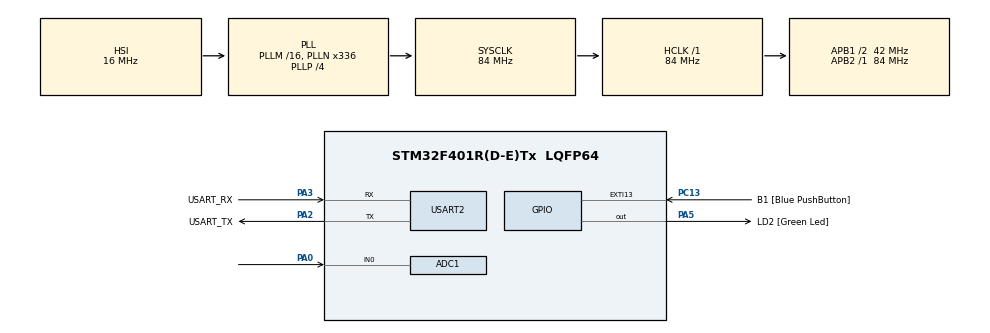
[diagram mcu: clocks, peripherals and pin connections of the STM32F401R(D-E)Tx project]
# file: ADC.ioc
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ADC1.Channel-1\#ChannelRegularConversion=ADC_CHANNEL_0
ADC1.ExternalTrigConv=ADC_EXTERNALTRIGCONV_T2_TRGO
ADC1.NbrOfConversionFlag=1
ADC1.Rank-1\#ChannelRegularConversion=1
ADC1.SamplingTime-1\#ChannelRegularConversion=ADC_SAMPLETIME_480CYCLES
ADC1.master=1
Mcu.Family=STM32F4
Mcu.Name=STM32F401R(D-E)Tx
Mcu.Package=LQFP64
NVIC.ADC_IRQn=true\:0\:0\:false\:false\:true\:true\:true\:true
NVIC.PriorityGroup=NVIC_PRIORITYGROUP_4
NVIC.TIM2_IRQn=true\:0\:0\:false\:false\:true\:true\:true\:true
PA0-WKUP.Signal=ADCx_IN0
PA13.GPIO_Label=TMS
PA13.Mode=Trace_Asynchronous_SW
PA13.Signal=SYS_JTMS-SWDIO
PA14.GPIO_Label=TCK
PA14.Mode=Trace_Asynchronous_SW
PA14.Signal=SYS_JTCK-SWCLK
PA2.GPIO_Label=USART_TX
PA2.GPIO_Mode=GPIO_MODE_AF_PP
PA2.GPIO_PuPd=GPIO_NOPULL
PA2.GPIO_Speed=GPIO_SPEED_FREQ_LOW
PA2.Mode=Asynchronous
PA2.Signal=USART2_TX
PA3.GPIO_Label=USART_RX
PA3.GPIO_Mode=GPIO_MODE_AF_PP
PA3.GPIO_PuPd=GPIO_NOPULL
PA3.GPIO_Speed=GPIO_SPEED_FREQ_LOW
PA3.Mode=Asynchronous
PA3.Signal=USART2_RX
PA5.GPIO_Label=LD2 [Green Led]
PA5.GPIO_Mode=GPIO_MODE_OUTPUT_PP
PA5.GPIO_PuPd=GPIO_NOPULL
PA5.GPIO_Speed=GPIO_SPEED_FREQ_LOW
PA5.Signal=GPIO_Output
PB3.GPIO_Label=SWO
PB3.Mode=Trace_Asynchronous_SW
PB3.Signal=SYS_JTDO-SWO
PC13-ANTI_TAMP.GPIO_Label=B1 [Blue PushButton]
PC13-ANTI_TAMP.GPIO_ModeDefaultEXTI=GPIO_MODE_IT_FALLING
PC13-ANTI_TAMP.GPIO_PuPd=GPIO_NOPULL
PC13-ANTI_TAMP.Signal=GPXTI13
PC14-OSC32_IN.Mode=LSE-External-Oscillator
PC14-OSC32_IN.Signal=RCC_OSC32_IN
PC15-OSC32_OUT.Mode=LSE-External-Oscillator
PC15-OSC32_OUT.Signal=RCC_OSC32_OUT
PH0\ -\ OSC_IN.Mode=HSE-External-Clock-Source
PH0\ -\ OSC_IN.Signal=RCC_OSC_IN
PH1\ -\ OSC_OUT.Mode=HSE-External-Clock-Source
PH1\ -\ OSC_OUT.Signal=RCC_OSC_OUT
ProjectManager.HeapSize=0x200
ProjectManager.StackSize=0x400
ProjectManager.TargetToolchain=MDK-ARM V5.32
RCC.48MHZClocksFreq_Value=48000000
RCC.AHBFreq_Value=84000000
RCC.APB1CLKDivider=RCC_HCLK_DIV2
RCC.APB1Freq_Value=42000000
RCC.APB1TimFreq_Value=84000000
RCC.APB2Freq_Value=84000000
RCC.APB2TimFreq_Value=84000000
RCC.CortexFreq_Value=84000000
RCC.HCLKFreq_Value=84000000
RCC.HSE_VALUE=8000000
RCC.HSI_VALUE=16000000
RCC.PLLN=336
RCC.PLLP=RCC_PLLP_DIV4
RCC.PLLQ=7
RCC.SYSCLKFreq_VALUE=84000000
RCC.SYSCLKSource=RCC_SYSCLKSOURCE_PLLCLK
RCC.VCOOutputFreq_Value=336000000
SH.ADCx_IN0.0=ADC1_IN0,IN0
TIM2.AutoReloadPreload=TIM_AUTORELOAD_PRELOAD_ENABLE
TIM2.Period=\ 50-1
TIM2.Prescaler=42000-1
TIM2.TIM_MasterOutputTrigger=TIM_TRGO_UPDATE
TIM2.TIM_MasterSlaveMode=TIM_MASTERSLAVEMODE_ENABLE
USART2.VirtualMode=VM_ASYNC
VP_TIM2_VS_ClockSourceINT.Mode=Internal
board=NUCLEO-F401RE

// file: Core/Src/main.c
/* USER CODE BEGIN Header */
/**
  ******************************************************************************
  * @file           : main.c
  * @brief          : Main program body
  ******************************************************************************
  * @attention
  *
  * Copyright (c) 2025 STMicroelectronics.
  * All rights reserved.
  *
  * This software is licensed under terms that can be found in the LICENSE file
  * in the root directory of this software component.
  * If no LICENSE file comes with this software, it is provided AS-IS.
  *
  ******************************************************************************
  */
/* USER CODE END Header */
#include "main.h"

/* USER CODE BEGIN Includes */
#include <stdio.h>
#include "stm32f4xx_hal_adc_ex.h"
/* USER CODE END Includes */

ADC_HandleTypeDef hadc1;

TIM_HandleTypeDef htim2;

UART_HandleTypeDef huart2;

/* USER CODE BEGIN PV */
uint16_t adc_value = 0;
char tx_buffer[32];
/* USER CODE END PV */

void SystemClock_Config(void);
static void MX_GPIO_Init(void);
static void MX_ADC1_Init(void);
static void MX_USART2_UART_Init(void);
static void MX_TIM2_Init(void);
/* USER CODE BEGIN PFP */
void HAL_TIM_PeriodElapsedCallback(TIM_HandleTypeDef *htim);
/* USER CODE END PFP */

int main(void)
{

  /* MCU Configuration--------------------------------------------------------*/

  /* Reset of all peripherals, Initializes the Flash interface and the Systick. */
  HAL_Init();

  /* Configure the system clock */
  SystemClock_Config();

  /* Initialize all configured peripherals */
  MX_GPIO_Init();
  MX_ADC1_Init();
  MX_USART2_UART_Init();
  MX_TIM2_Init();
	/* USER CODE BEGIN 2 */
	// ?????????????? ?????????? ADC
	HAL_ADC_Start(&hadc1);
	HAL_Delay(10);  // ???????? ????????
	HAL_ADC_Stop(&hadc1);

	// ??? ?????? ?????????? ?????????? ??? ?????
	// ?????????? ?? ??????????? ??? ??????, ?? ???????? ????????

	// ?????? ??????? ? ???????????
	HAL_TIM_Base_Start_IT(&htim2);

	// ?????? ??????????? ??? ?????????
	HAL_GPIO_TogglePin(LD2_GPIO_Port, LD2_Pin);

	// ?????????? ????????? ?????????
	HAL_UART_Transmit(&huart2, (uint8_t*)"ADC 40Hz started\r\n", 18, 100);
	/* USER CODE END 2 */

  /* Infinite loop */
  while (1)
  {

  }
}

void SystemClock_Config(void)
{
  RCC_OscInitTypeDef RCC_OscInitStruct = {0};
  RCC_ClkInitTypeDef RCC_ClkInitStruct = {0};

  /** Configure the main internal regulator output voltage
  */
  __HAL_RCC_PWR_CLK_ENABLE();
  __HAL_PWR_VOLTAGESCALING_CONFIG(PWR_REGULATOR_VOLTAGE_SCALE2);

  /** Initializes the RCC Oscillators according to the specified parameters
  * in the RCC_OscInitTypeDef structure.
  */
  RCC_OscInitStruct.OscillatorType = RCC_OSCILLATORTYPE_HSI;
  RCC_OscInitStruct.HSIState = RCC_HSI_ON;
  RCC_OscInitStruct.HSICalibrationValue = RCC_HSICALIBRATION_DEFAULT;
  RCC_OscInitStruct.PLL.PLLState = RCC_PLL_ON;
  RCC_OscInitStruct.PLL.PLLSource = RCC_PLLSOURCE_HSI;
  RCC_OscInitStruct.PLL.PLLM = 16;
  RCC_OscInitStruct.PLL.PLLN = 336;
  RCC_OscInitStruct.PLL.PLLP = RCC_PLLP_DIV4;
  RCC_OscInitStruct.PLL.PLLQ = 7;
  if (HAL_RCC_OscConfig(&RCC_OscInitStruct) != HAL_OK)
  {
    Error_Handler();
  }

  /** Initializes the CPU, AHB and APB buses clocks
  */
  RCC_ClkInitStruct.ClockType = RCC_CLOCKTYPE_HCLK|RCC_CLOCKTYPE_SYSCLK
                              |RCC_CLOCKTYPE_PCLK1|RCC_CLOCKTYPE_PCLK2;
  RCC_ClkInitStruct.SYSCLKSource = RCC_SYSCLKSOURCE_PLLCLK;
  RCC_ClkInitStruct.AHBCLKDivider = RCC_SYSCLK_DIV1;
  RCC_ClkInitStruct.APB1CLKDivider = RCC_HCLK_DIV2;
  RCC_ClkInitStruct.APB2CLKDivider = RCC_HCLK_DIV1;

  if (HAL_RCC_ClockConfig(&RCC_ClkInitStruct, FLASH_LATENCY_2) != HAL_OK)
  {
    Error_Handler();
  }
}

static void MX_ADC1_Init(void)
{

  ADC_ChannelConfTypeDef sConfig = {0};

  /** Configure the global features of the ADC (Clock, Resolution, Data Alignment and number of conversion)
  */
  hadc1.Instance = ADC1;
  hadc1.Init.ClockPrescaler = ADC_CLOCK_SYNC_PCLK_DIV4;
  hadc1.Init.Resolution = ADC_RESOLUTION_12B;
  hadc1.Init.ScanConvMode = DISABLE;
  hadc1.Init.ContinuousConvMode = DISABLE;
  hadc1.Init.DiscontinuousConvMode = DISABLE;
  hadc1.Init.ExternalTrigConvEdge = ADC_EXTERNALTRIGCONVEDGE_RISING;
  hadc1.Init.ExternalTrigConv = ADC_EXTERNALTRIGCONV_T2_TRGO;
  hadc1.Init.DataAlign = ADC_DATAALIGN_RIGHT;
  hadc1.Init.NbrOfConversion = 1;
  hadc1.Init.DMAContinuousRequests = DISABLE;
  hadc1.Init.EOCSelection = ADC_EOC_SINGLE_CONV;
  if (HAL_ADC_Init(&hadc1) != HAL_OK)
  {
    Error_Handler();
  }

  /** Configure for the selected ADC regular channel its corresponding rank in the sequencer and its sample time.
  */
  sConfig.Channel = ADC_CHANNEL_0;
  sConfig.Rank = 1;
  sConfig.SamplingTime = ADC_SAMPLETIME_480CYCLES;
  if (HAL_ADC_ConfigChannel(&hadc1, &sConfig) != HAL_OK)
  {
    Error_Handler();
  }

}

static void MX_TIM2_Init(void)
{

  TIM_ClockConfigTypeDef sClockSourceConfig = {0};
  TIM_MasterConfigTypeDef sMasterConfig = {0};

  htim2.Instance = TIM2;
  htim2.Init.Prescaler = 42000-1;
  htim2.Init.CounterMode = TIM_COUNTERMODE_UP;
  htim2.Init.Period = 50-1;
  htim2.Init.ClockDivision = TIM_CLOCKDIVISION_DIV1;
  htim2.Init.AutoReloadPreload = TIM_AUTORELOAD_PRELOAD_ENABLE;
  if (HAL_TIM_Base_Init(&htim2) != HAL_OK)
  {
    Error_Handler();
  }
  sClockSourceConfig.ClockSource = TIM_CLOCKSOURCE_INTERNAL;
  if (HAL_TIM_ConfigClockSource(&htim2, &sClockSourceConfig) != HAL_OK)
  {
    Error_Handler();
  }
  sMasterConfig.MasterOutputTrigger = TIM_TRGO_UPDATE;
  sMasterConfig.MasterSlaveMode = TIM_MASTERSLAVEMODE_ENABLE;
  if (HAL_TIMEx_MasterConfigSynchronization(&htim2, &sMasterConfig) != HAL_OK)
  {
    Error_Handler();
  }

}

static void MX_USART2_UART_Init(void)
{

  huart2.Instance = USART2;
  huart2.Init.BaudRate = 115200;
  huart2.Init.WordLength = UART_WORDLENGTH_8B;
  huart2.Init.StopBits = UART_STOPBITS_1;
  huart2.Init.Parity = UART_PARITY_NONE;
  huart2.Init.Mode = UART_MODE_TX_RX;
  huart2.Init.HwFlowCtl = UART_HWCONTROL_NONE;
  huart2.Init.OverSampling = UART_OVERSAMPLING_16;
  if (HAL_UART_Init(&huart2) != HAL_OK)
  {
    Error_Handler();
  }

}

static void MX_GPIO_Init(void)
{
  GPIO_InitTypeDef GPIO_InitStruct = {0};

  /* GPIO Ports Clock Enable */
  __HAL_RCC_GPIOC_CLK_ENABLE();
  __HAL_RCC_GPIOH_CLK_ENABLE();
  __HAL_RCC_GPIOA_CLK_ENABLE();
  __HAL_RCC_GPIOB_CLK_ENABLE();

  /*Configure GPIO pin Output Level */
  HAL_GPIO_WritePin(LD2_GPIO_Port, LD2_Pin, GPIO_PIN_RESET);

  /*Configure GPIO pin : B1_Pin */
  GPIO_InitStruct.Pin = B1_Pin;
  GPIO_InitStruct.Mode = GPIO_MODE_IT_FALLING;
  GPIO_InitStruct.Pull = GPIO_NOPULL;
  HAL_GPIO_Init(B1_GPIO_Port, &GPIO_InitStruct);

  /*Configure GPIO pin : LD2_Pin */
  GPIO_InitStruct.Pin = LD2_Pin;
  GPIO_InitStruct.Mode = GPIO_MODE_OUTPUT_PP;
  GPIO_InitStruct.Pull = GPIO_NOPULL;
  GPIO_InitStruct.Speed = GPIO_SPEED_FREQ_LOW;
  HAL_GPIO_Init(LD2_GPIO_Port, &GPIO_InitStruct);

}

/* USER CODE BEGIN 4 */
// Callback-???????, ?????????? ?????? 25 ?? (40 ??)
void HAL_TIM_PeriodElapsedCallback(TIM_HandleTypeDef *htim)
{
    // ?????????, ??? ??? TIM2
    if (htim->Instance == TIM2)
    {
        // ????????? ?????????????? ADC
        HAL_ADC_Start(&hadc1);

        // ???? ????????? ?????????????? (???? 1 ??)
        if (HAL_ADC_PollForConversion(&hadc1, 1) == HAL_OK)
        {
            // ?????? ???????? ADC (0-4095)
            adc_value = HAL_ADC_GetValue(&hadc1);

            // ???????????? ? ??????????? (0-3300 ??)
            uint32_t voltage_mv = (adc_value * 3300) / 4095;

            // ????????? ?????? ? ???????: "ADC:1234 V:1.234\r\n"
            // ??? ??????????: "1234,3210\r\n" (ADC, ?????????? ? ??)
            int len = sprintf(tx_buffer, "%04u,%04u\r\n", adc_value, voltage_mv);

            // ?????????? ?? UART
            HAL_UART_Transmit(&huart2, (uint8_t*)tx_buffer, len, 10);

            // ?????? ??????????? ??? ????????? ??????????
            HAL_GPIO_TogglePin(LD2_GPIO_Port, LD2_Pin);
        }
    }
}
/* USER CODE END 4 */

void Error_Handler(void)
{
  __disable_irq();
  while (1)
  {
  }
}
